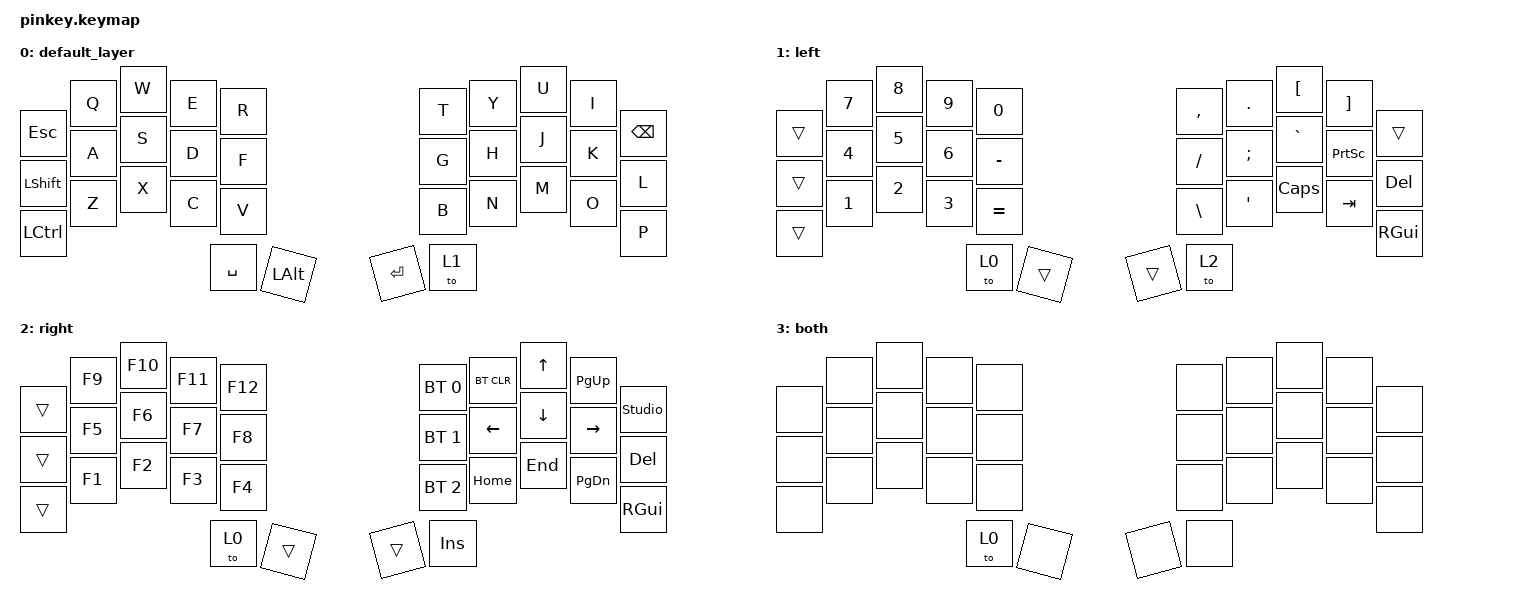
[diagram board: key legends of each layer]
#include <behaviors.dtsi>
#include <dt-bindings/zmk/bt.h>
#include <dt-bindings/zmk/keys.h>

/ {
    combos {
        compatible = "zmk,combos";

        esc {
            bindings = <&kp ESCAPE>;
            key-positions = <0 1>;
            layers = <0>;
            require-prior-idle-ms = <200>;
        };

        tab {
            bindings = <&kp TAB>;
            key-positions = <10 11>;
            layers = <0>;
            require-prior-idle-ms = <200>;
        };
    };

    keymap {
        compatible = "zmk,keymap";

        default_layer {
            bindings = <
&kp ESC     &kp Q   &kp W   &kp E   &kp R      &kp T   &kp Y   &kp U   &kp I   &kp BSPC
&kp LSHFT   &kp A   &kp S   &kp D   &kp F      &kp G   &kp H   &kp J   &kp K   &kp L
&kp LCTRL   &kp Z   &kp X   &kp C   &kp V      &kp B   &kp N   &kp M   &kp O   &kp P
                        &kp SPACE   &kp LALT   &kp ENTER  &to 1
            >;
        };

        left {
            bindings = <
&trans   &kp N7   &kp N8   &kp N9   &kp N0         &kp COMMA   &kp DOT    &kp LBKT    &kp RBKT    &trans
&trans   &kp N4   &kp N5   &kp N6   &kp MINUS      &kp FSLH    &kp SEMI   &kp GRAVE   &kp PSCRN   &kp DEL
&trans   &kp N1   &kp N2   &kp N3   &kp EQUAL      &kp BSLH    &kp APOS   &kp CAPS    &kp TAB     &kp RGUI
                            &to 0   &trans         &trans      &to 2
            >;
        };

        right {
            bindings = <
&trans   &kp F9   &kp F10  &kp F11  &kp F12     &bt BT_SEL 0   &bt BT_CLR   &kp UP     &kp PG_UP   &studio_unlock
&trans   &kp F5   &kp F6   &kp F7   &kp F8      &bt BT_SEL 1   &kp LEFT     &kp DOWN   &kp RIGHT   &kp DEL
&trans   &kp F1   &kp F2   &kp F3   &kp F4      &bt BT_SEL 2   &kp HOME     &kp END    &kp PG_DN   &kp RGUI
                           &to 0    &trans      &trans         &kp INS
            >;
        };

        both {
            bindings = <
&none   &none   &none   &none   &none      &none   &none   &none   &none   &none
&none   &none   &none   &none   &none      &none   &none   &none   &none   &none
&none   &none   &none   &none   &none      &none   &none   &none   &none   &none
                        &to 0   &none      &none   &none
            >;
        };
    };

    conditional_layers {
        compatible = "zmk,conditional-layers";

        tri {
            if-layers = <1 2>;
            then-layer = <3>;
        };
    };
};
